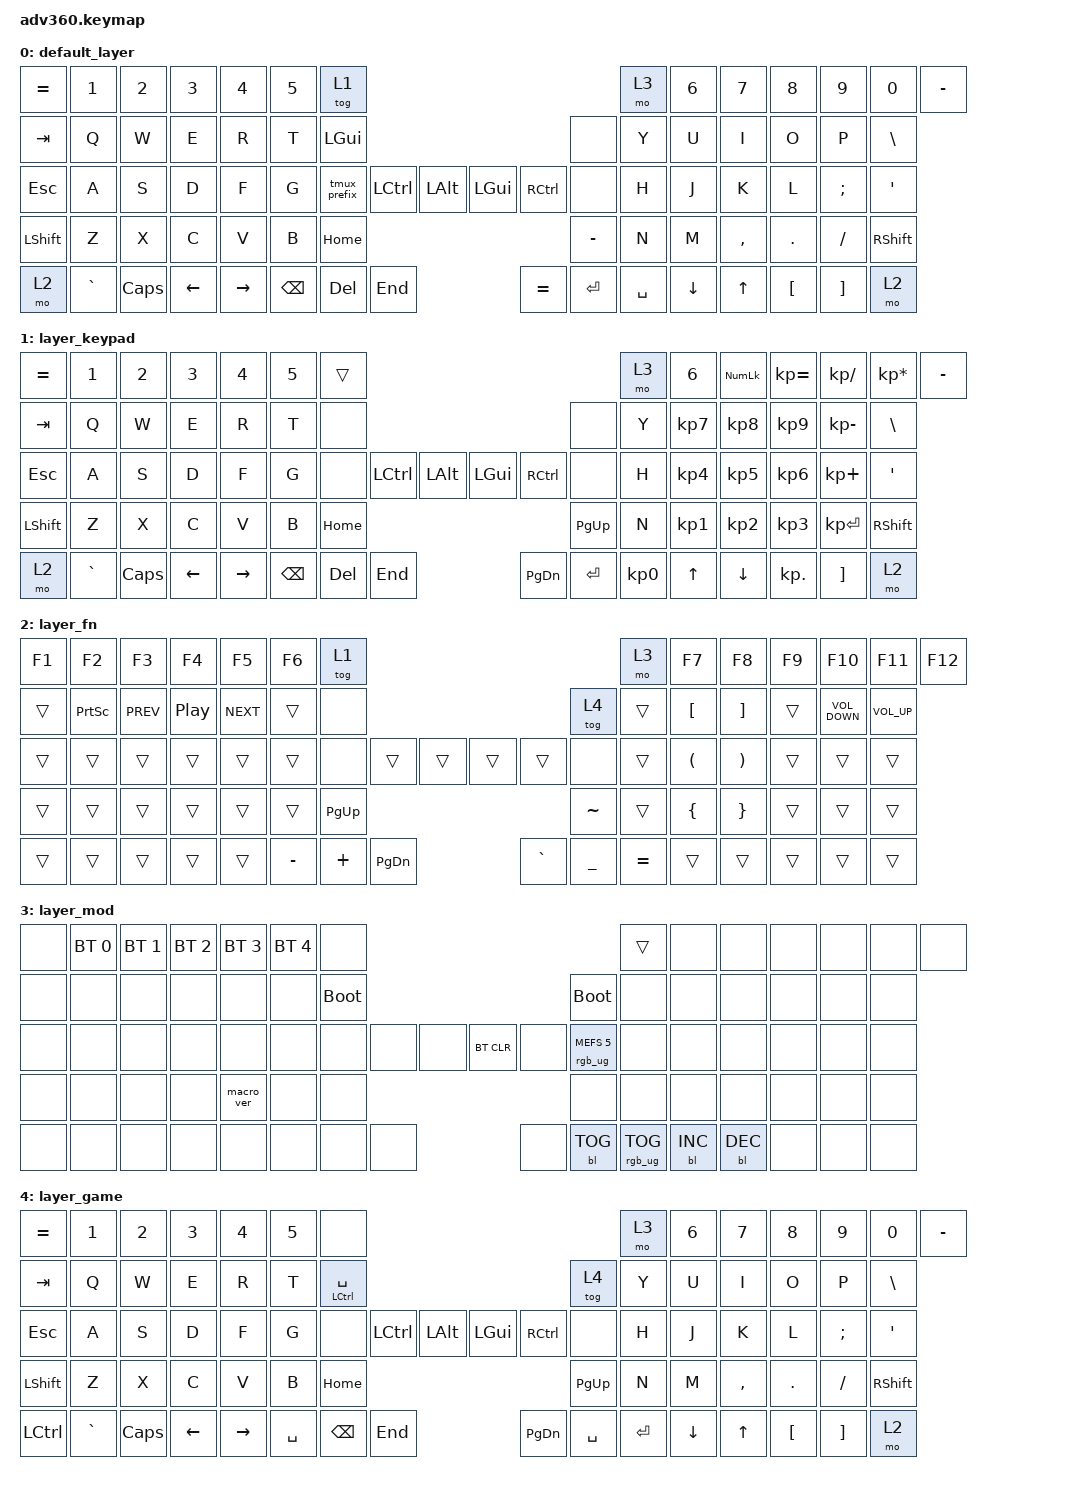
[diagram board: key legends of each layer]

/*
 * Copyright (c) 2020 The ZMK Contributors
 *
 * SPDX-License-Identifier: MIT
 */


/* THIS FILE WAS GENERATED!
 *
 * This file was generated automatically. You may or may not want to
 * edit it directly.
 */

#include <behaviors.dtsi>
#include <dt-bindings/zmk/keys.h>
#include <dt-bindings/zmk/bt.h>
#include <dt-bindings/zmk/rgb.h>
#include <dt-bindings/zmk/backlight.h>

/ {
  behaviors {
    #include "macros.dtsi"
    #include "version.dtsi"

    hm: homerow_mods {
        compatible = "zmk,behavior-hold-tap";
        label = "HOMEROW_MODS";
        #binding-cells = <2>;
        tapping-term-ms = <200>;
        quick_tap_ms = <175>;
        flavor = "tap-preferred";
        bindings = <&kp>, <&kp>;
    };
  };

  macros {
      tmux_prefix: tmux_prefix {
          compatible = "zmk,behavior-macro";
          #binding-cells = <0>;
          bindings
              = <&macro_press &kp LCTRL>
              , <&macro_tap &kp SPACE>
              , <&macro_release &kp LCTRL>
              ;
      };
  };

    keymap {
        compatible = "zmk,keymap";


        default_layer {
            bindings = <
 &kp EQUAL     &kp N1    &kp N2    &kp N3     &kp N4  &kp N5                     &tog 1                                                                 &mo 3  &kp N6    &kp N7     &kp N8    &kp N9    &kp N0  &kp MINUS
   &kp TAB      &kp Q     &kp W     &kp E      &kp R   &kp T            &kp LGUI                                                                &none   &kp Y     &kp U      &kp I     &kp O     &kp P   &kp BSLH
   &kp ESC      &kp A     &kp S     &kp D      &kp F   &kp G                      &tmux_prefix  &kp LCTRL  &kp LALT                   &kp LGUI  &kp RCTRL      &none   &kp H     &kp J      &kp K     &kp L  &kp SEMI    &kp SQT
 &kp LSHFT      &kp Z     &kp X     &kp C      &kp V   &kp B                                        &kp HOME                  &kp MINUS                          &kp N     &kp M  &kp COMMA   &kp DOT  &kp FSLH  &kp RSHFT
     &mo 2  &kp GRAVE  &kp CAPS  &kp LEFT  &kp RIGHT                           &kp BSPC    &kp DEL   &kp END                  &kp EQUAL  &kp ENTER  &kp SPACE          &kp DOWN     &kp UP  &kp LBKT  &kp RBKT      &mo 2
            >;
        };

        layer_keypad {
            bindings = <
 &kp EQUAL     &kp N1    &kp N2    &kp N3     &kp N4  &kp N5              &trans                                                                 &mo 3  &kp N6  &kp KP_NUM  &kp KP_EQUAL  &kp KP_DIVIDE  &kp KP_MULTIPLY  &kp MINUS
   &kp TAB      &kp Q     &kp W     &kp E      &kp R   &kp T               &none                                                                 &none   &kp Y   &kp KP_N7     &kp KP_N8      &kp KP_N9     &kp KP_MINUS   &kp BSLH
   &kp ESC      &kp A     &kp S     &kp D      &kp F   &kp G               &none  &kp LCTRL  &kp LALT                   &kp LGUI  &kp RCTRL      &none   &kp H   &kp KP_N4     &kp KP_N5      &kp KP_N6      &kp KP_PLUS    &kp SQT
 &kp LSHFT      &kp Z     &kp X     &kp C      &kp V   &kp B                                 &kp HOME                  &kp PG_UP                         &kp N   &kp KP_N1     &kp KP_N2      &kp KP_N3     &kp KP_ENTER  &kp RSHFT
     &mo 2  &kp GRAVE  &kp CAPS  &kp LEFT  &kp RIGHT                    &kp BSPC    &kp DEL   &kp END                  &kp PG_DN  &kp ENTER  &kp KP_N0              &kp UP      &kp DOWN     &kp KP_DOT         &kp RBKT      &mo 2
            >;
        };

        layer_fn {
            bindings = <
 &kp F1  &kp F2  &kp F3  &kp F4  &kp F5  &kp F6            &tog 1                                                   &mo 3           &kp F7            &kp F8      &kp F9     &kp F10  &kp F11  &kp F12
 &trans  &kp PRINTSCREEN  &kp C_PREV  &kp C_PLAY_PAUSE  &kp C_NEXT  &trans  &none                                                   &tog 4  &trans  &kp LBKT  &kp RBKT  &trans   &kp C_VOLUME_DOWN   &kp C_VOLUME_UP
 &trans  &trans  &trans  &trans  &trans  &trans             &none  &trans  &trans                  &trans  &trans   &none           &trans            &kp LEFT_PARENTHESIS &kp RIGHT_PARENTHESIS      &trans   &trans   &trans
 &trans  &trans  &trans  &trans  &trans  &trans                            &kp PG_UP                  &kp TILDE                           &trans          &kp LEFT_BRACE      &kp RIGHT_BRACE      &trans   &trans   &trans
 &trans  &trans  &trans  &trans  &trans                    &kp MINUS  &kp PLUS &kp PG_DN                  &kp GRAVE  &kp UNDERSCORE  &kp EQUAL                             &trans      &trans      &trans   &trans   &trans
            >;
        };

        layer_mod {
            bindings = <
  &none  &bt BT_SEL 0  &bt BT_SEL 1  &bt BT_SEL 2  &bt BT_SEL 3  &bt BT_SEL 4                  &none                                                                          &trans   &none       &none       &none   &none   &none   &none
  &none         &none         &none         &none         &none         &none            &bootloader                                                                     &bootloader   &none       &none       &none   &none   &none   &none
  &none         &none         &none         &none         &none         &none                  &none   &none   &none                  &bt BT_CLR       &none  &rgb_ug RGB_MEFS_CMD 5   &none       &none       &none   &none   &none   &none
  &none         &none         &none         &none    &macro_ver         &none                                  &none                       &none                                       &none       &none       &none   &none   &none   &none
  &none         &none         &none         &none         &none                                &none   &none   &none                       &none  &bl BL_TOG         &rgb_ug RGB_TOG          &bl BL_INC  &bl BL_DEC   &none   &none   &none
            >;
        };

        layer_game {
            bindings = <
 &kp EQUAL     &kp N1    &kp N2    &kp N3     &kp N4  &kp N5                      &none                                                                 &mo 3  &kp N6    &kp N7     &kp N8    &kp N9    &kp N0  &kp MINUS
   &kp TAB      &kp Q     &kp W     &kp E      &kp R   &kp T            &mt LCTRL SPACE                                                                &tog 4   &kp Y     &kp U      &kp I     &kp O     &kp P   &kp BSLH
   &kp ESC      &kp A     &kp S     &kp D      &kp F   &kp G                      &none  &kp LCTRL  &kp LALT                   &kp LGUI  &kp RCTRL      &none   &kp H     &kp J      &kp K     &kp L  &kp SEMI    &kp SQT
 &kp LSHFT      &kp Z     &kp X     &kp C      &kp V   &kp B                                        &kp HOME                  &kp PG_UP                         &kp N     &kp M  &kp COMMA   &kp DOT  &kp FSLH  &kp RSHFT
     &kp LCTRL  &kp GRAVE  &kp CAPS  &kp LEFT  &kp RIGHT                          &kp SPACE   &kp BSPC   &kp END                  &kp PG_DN  &kp SPACE  &kp ENTER          &kp DOWN     &kp UP  &kp LBKT  &kp RBKT      &mo 2
            >;
        };

    };
};
